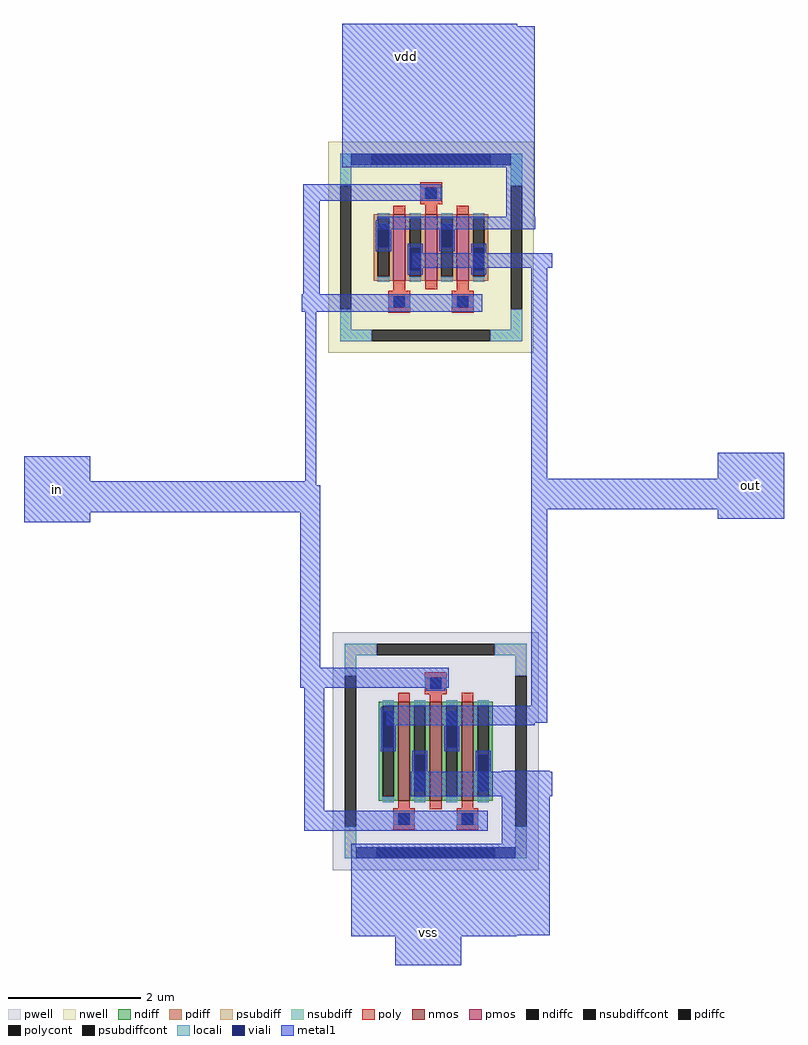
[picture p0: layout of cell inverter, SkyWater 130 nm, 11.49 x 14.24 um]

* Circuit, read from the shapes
.subckt inverter in out vdd vss
XM1 vss in out vss sky130_fd_pr__nfet_01v8 w=1.5 l=0.18 m=3
XM2 out in vdd vdd sky130_fd_pr__pfet_01v8 w=1 l=0.18 m=3
.ends

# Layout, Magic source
magic
tech sky130A
magscale 1 2
<< metal1 >>
rect -70 4044 460 4052
rect -70 3618 512 4044
rect -188 3516 229 3566
rect -188 3234 -138 3516
rect 426 3468 512 3618
rect 36 3430 514 3468
rect 142 3314 566 3358
rect -192 3180 354 3234
rect -1032 2668 -832 2744
rect -181 2668 -149 3180
rect -1032 2656 -149 2668
rect 502 2676 550 3314
rect 1066 2676 1266 2754
rect -1032 2574 -136 2656
rect -1032 2544 -832 2574
rect -196 2104 -136 2574
rect 502 2584 1266 2676
rect -196 2044 252 2104
rect -184 1672 -124 2044
rect 502 1990 550 2584
rect 1066 2554 1266 2584
rect 64 1938 550 1990
rect 64 1930 512 1938
rect 412 1790 558 1792
rect 138 1716 566 1790
rect -184 1612 370 1672
rect 412 1572 558 1716
rect -42 1296 558 1572
rect -42 1292 458 1296
rect 90 1204 290 1292
use sky130_fd_pr__nfet_01v8_KBZXWL  XM1
transform 1 0 213 0 1 1852
box -311 -360 311 360
use sky130_fd_pr__pfet_01v8_XQ58Y7  XM2
transform 1 0 199 0 1 3375
box -311 -319 311 319
<< labels >>
flabel metal1 -1032 2544 -832 2744 0 FreeSans 1600 0 0 0 in
port 0 nsew
flabel metal1 1066 2554 1266 2754 0 FreeSans 1600 0 0 0 out
port 1 nsew
flabel metal1 90 1204 290 1404 0 FreeSans 1600 0 0 0 vss
port 3 nsew
flabel metal1 26 3852 226 4052 0 FreeSans 1600 0 0 0 vdd
port 2 nsew
<< end >>

# cell sky130_fd_pr__nfet_01v8_KBZXWL: kit device sky130_fd_pr__nfet_01v8, w 1.5 l 0.18 m 1 nf 3 diffcov 100 polycov 100 guard 1 glc 1 grc 1 gtc 1 gbc 1 tbcov 100 rlcov 100 topc 1 botc 1 poverlap 0 doverlap 1 lmin 0.15 wmin 0.42 class mosfet compatible {sky130_fd_pr__nfet_01v8 sky130_fd_pr__nfet_01v8_lvt sky130_fd_bs_flash__special_sonosfet_star sky130_fd_pr__nfet_g5v0d10v5 sky130_fd_pr__nfet_05v0_nvt sky130_fd_pr__nfet_03v3_nvt} full_metal 1 conn_gates 0 viasrc +40 viadrn -40 viagate 100 viagb 100 viagr 0 viagl 0 viagt 0 doports 1

# cell sky130_fd_pr__pfet_01v8_XQ58Y7: kit device sky130_fd_pr__pfet_01v8, w 1.0 l 0.18 m 1 nf 3 diffcov 100 polycov 100 guard 1 glc 1 grc 1 gtc 1 gbc 1 tbcov 100 rlcov 100 topc 1 botc 1 poverlap 0 doverlap 1 lmin 0.15 wmin 0.42 class mosfet compatible {sky130_fd_pr__pfet_01v8 sky130_fd_pr__pfet_01v8_lvt sky130_fd_pr__pfet_01v8_hvt sky130_fd_pr__pfet_g5v0d10v5} full_metal 1 conn_gates 0 viasrc +40 viadrn -40 viagate 100 viagb 0 viagr 0 viagl 0 viagt 100 doports 1
